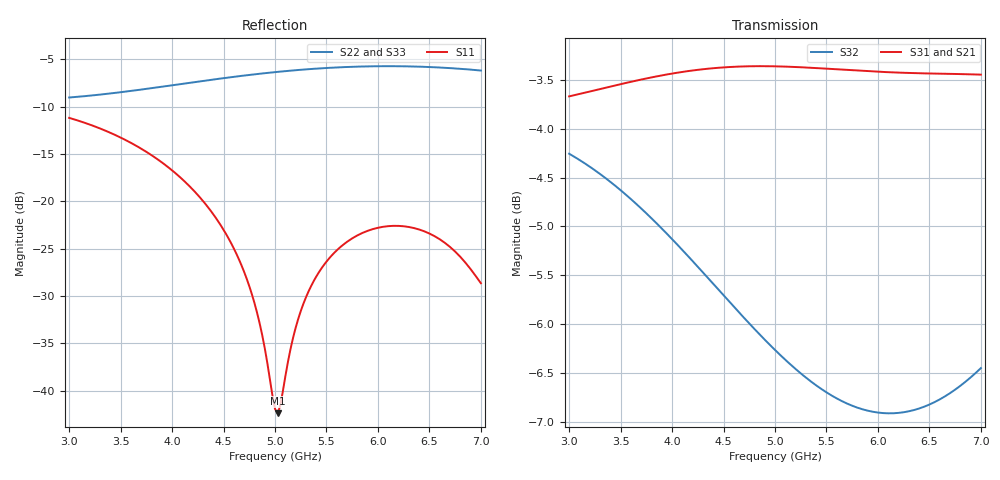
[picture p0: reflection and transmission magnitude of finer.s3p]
! yapnr rf: divider-osh-w-star-sched-fwd, footprint re-simulated (refine 3)
! spec sha256 29431923023cd9b52053ba022314b978b7e49c75d0edec580638c4f43fb7ae45
! 3 ports renormalized to 50 ohm, e^(+jwt) convention
# GHz S RI R 50
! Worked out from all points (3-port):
!   161 points, 3 GHz to 7 GHz, reference 50 ohm
!   strongest paths, dB at 3 GHz, 4 GHz, 5 GHz, 6 GHz, 7 GHz:
!     S31: -3.7, -3.4, -3.4, -3.4, -3.4
!     S21: -3.7, -3.4, -3.4, -3.4, -3.4
!     S32: -4.3, -5.1, -6.3, -6.9, -6.5
!   lowest |S11| = -42.4 dB at 5.025 GHz (marker M1), VSWR 1.02, Z = 49.6 + j0.621 ohm
!   |S11| at or under -10 dB: start of sweep to end of sweep
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3  -0.0999 0.2571  -0.3533 -0.5526  -0.3533 -0.5526
   -0.3533 -0.552  0.3046 0.1789  -0.5794 -0.1989
   -0.3533 -0.552  -0.5794 -0.1989  0.3046 0.1789
3.625  0.00293 0.2002  -0.5764 -0.3367  -0.5764 -0.3367
       -0.5761 -0.3366  0.3799 -0.0573  -0.5593 0.1503
       -0.5761 -0.3366  -0.5593 0.1503  0.3799 -0.0573
4.4  0.0405 0.0753  -0.6749 0.0539  -0.6749 0.0539
     -0.6755 0.0528  0.2682 -0.3482  -0.2999 0.4315
     -0.6755 0.0528  -0.2999 0.4315  0.2682 -0.3482
4.775  0.0185 0.0265  -0.6299 0.2507  -0.6299 0.2507
       -0.6315 0.2497  0.1473 -0.4426  -0.1427 0.4791
       -0.6315 0.2497  -0.1427 0.4791  0.1473 -0.4426
5  -0.00189 0.0078  -0.5744 0.3592  -0.5744 0.3592
   -0.5767 0.3586  0.0621 -0.4769  -0.0515 0.4834
   -0.5767 0.3586  -0.0515 0.4834  0.0621 -0.4769
5.025  -0.00431 0.00627  -0.567 0.3706  -0.567 0.3706
       -0.5693 0.37  0.0522 -0.4796  -0.0417 0.4829
       -0.5693 0.37  -0.0417 0.4829  0.0522 -0.4796
5.3  -0.0309 -0.00342  -0.4714 0.4843  -0.4714 0.4843
     -0.4743 0.4847  -0.0585 -0.4938  0.061 0.4666
     -0.4743 0.4847  0.061 0.4666  -0.0585 -0.4938
5.75  -0.0636 0.00415  -0.2694 0.6166  -0.2694 0.6166
      -0.2719 0.6188  -0.2343 -0.4565  0.206 0.4059
      -0.2719 0.6188  0.206 0.4059  -0.2343 -0.4565
6.425  -0.064 0.0292  0.0878 0.6641  0.0878 0.6641
       0.0883 0.6677  -0.4281 -0.2836  0.3729 0.2594
       0.0883 0.6677  0.3729 0.2594  -0.4281 -0.2836
7  -0.0352 0.0114  0.3804 0.5507  0.3804 0.5507
   0.3837 0.5522  -0.4838 -0.08  0.4683 0.0846
   0.3837 0.5522  0.4683 0.0846  -0.4838 -0.08
